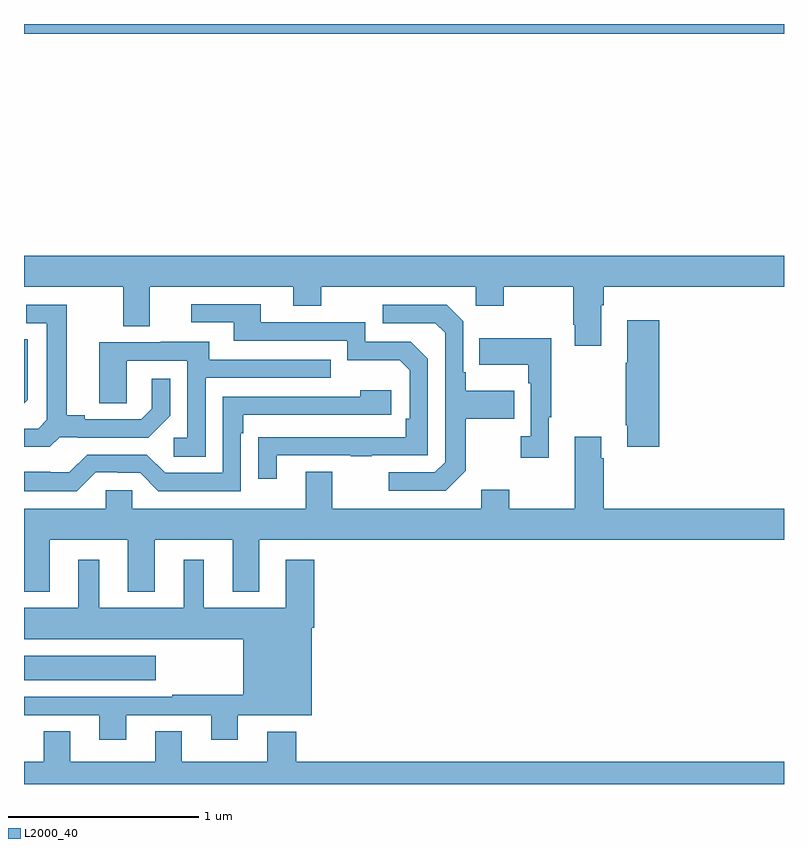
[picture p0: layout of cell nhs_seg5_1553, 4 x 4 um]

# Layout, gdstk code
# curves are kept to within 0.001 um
import gdstk
lib = gdstk.Library(unit=1e-6, precision=1e-09)
def R(c, l, rs):  # rectangles x0, y0, x1, y1
    for r in rs: c.add(gdstk.rectangle(r[:2], r[2:], *l))
def P(c, l, *ps):  # polygons
    for p in ps: c.add(gdstk.Polygon(p, *l))
L2000_40 = (2000, 40)

nhs_seg5_1553 = lib.new_cell('nhs_seg5_1553')
R(nhs_seg5_1553, L2000_40, [(205,865.346,205.693,865.474), (205,868.748,209,868.799)])
P(nhs_seg5_1553, L2000_40, [(208.039,867.32),(208.052,867.32),(208.052,867.416),(209,867.416),(209,867.58),(205,867.58),(205,867.416),(205.523,867.416),(205.523,867.208),(205.663,867.208),(205.663,867.416),(206.417,867.416),(206.417,867.317),(206.565,867.317),(206.565,867.416),(207.378,867.416),(207.378,867.317),(207.525,867.317),(207.525,867.416),(207.892,867.416),(207.892,867.217),(207.899,867.217),(207.899,867.105),(208.039,867.105)],
  [(206.329,866.529),(206.719,866.529),(206.719,866.524),(206.831,866.524),(206.831,866.529),(207.126,866.529),(207.126,867.036),(207.036,867.126),(206.796,867.126),(206.796,867.228),(206.245,867.228),(206.245,867.324),(205.881,867.324),(205.881,867.228),(206.105,867.228),(206.105,867.132),(206.7,867.132),(206.7,867.029),(206.977,867.029),(207.03,866.976),(207.03,866.722),(207.01,866.722),(207.01,866.625),(206.233,866.624),(206.233,866.406),(206.329,866.406)],
  [(207.325,866.449),(207.325,866.722),(207.581,866.722),(207.581,866.869),(207.325,866.869),(207.325,866.965),(207.312,866.965),(207.312,867.234),(207.225,867.321),(206.889,867.321),(206.889,867.225),(207.165,867.225),(207.216,867.174),(207.216,866.493),(207.162,866.439),(206.919,866.439),(206.919,866.343),(207.219,866.343)],
  [(205.188,866.625),(205.282,866.625),(205.282,866.622),(205.654,866.622),(205.77,866.738),(205.77,866.932),(205.673,866.932),(205.673,866.775),(205.616,866.718),(205.321,866.718),(205.321,866.741),(205.225,866.741),(205.225,867.321),(205.011,867.321),(205.011,867.225),(205.121,867.225),(205.121,866.717),(205.074,866.67),(205,866.67),(205,866.573),(205.136,866.573)],
  [(208.343,867.241),(208.175,867.241),(208.175,867.017),(208.168,867.017),(208.168,866.686),(208.175,866.686),(208.175,866.574),(208.343,866.574)],
  [(207.763,866.729),(207.775,866.729),(207.775,867.145),(207.397,867.145),(207.397,867.005),(207.654,867.005),(207.654,866.909),(207.666,866.909),(207.666,866.63),(207.615,866.63),(207.615,866.517),(207.763,866.517)],
  [(205.02,866.822),(205.02,867.14),(205,867.14),(205,866.802)],
  [(205.956,866.937),(206.615,866.937),(206.615,867.033),(205.975,867.033),(205.975,867.127),(205.721,867.127),(205.721,867.123),(205.397,867.123),(205.397,866.803),(205.542,866.803),(205.542,867.027),(205.86,867.027),(205.86,866.622),(205.788,866.622),(205.788,866.521),(205.956,866.521)],
  [(205.377,866.439),(205.493,866.439),(205.493,866.436),(205.611,866.436),(205.707,866.34),(206.142,866.34),(206.142,866.645),(206.155,866.645),(206.155,866.742),(206.932,866.742),(206.932,866.872),(206.771,866.872),(206.771,866.838),(206.046,866.838),(206.046,866.436),(205.743,866.436),(205.647,866.532),(205.332,866.532),(205.239,866.439),(205.139,866.439),(205.139,866.443),(205,866.443),(205,866.339),(205.277,866.339)],
  [(205.135,866.084),(205.547,866.084),(205.547,865.811),(205.687,865.811),(205.687,866.084),(206.099,866.084),(206.099,865.811),(206.239,865.811),(206.239,866.084),(209,866.084),(209,866.248),(208.052,866.248),(208.052,866.513),(208.039,866.513),(208.039,866.626),(207.899,866.626),(207.899,866.248),(207.555,866.248),(207.555,866.347),(207.407,866.347),(207.407,866.248),(206.623,866.248),(206.623,866.443),(206.483,866.443),(206.483,866.248),(205.569,866.248),(205.569,866.346),(205.431,866.346),(205.431,866.248),(205,866.248),(205,865.811),(205.135,865.811)],
  [(205.537,865.161),(205.985,865.161),(205.985,865.032),(206.125,865.032),(206.125,865.16),(206.515,865.16),(206.515,865.622),(206.528,865.622),(206.528,865.978),(206.378,865.978),(206.378,865.726),(205.945,865.726),(205.945,865.978),(205.841,865.978),(205.841,865.726),(205.396,865.726),(205.396,865.978),(205.286,865.978),(205.286,865.726),(205,865.726),(205,865.562),(206.153,865.562),(206.153,865.27),(205.78,865.27),(205.78,865.257),(205,865.257),(205,865.161),(205.397,865.161),(205.397,865.032),(205.537,865.032)],
  [(209,864.916),(206.432,864.916),(206.432,865.075),(206.279,865.075),(206.279,864.916),(205.831,864.916),(205.831,865.076),(205.691,865.076),(205.691,864.916),(205.243,864.916),(205.243,865.076),(205.103,865.076),(205.103,864.916),(205,864.916),(205,864.799),(209,864.799)])

lib.write_gds('nhs_seg5_1553.gds')
